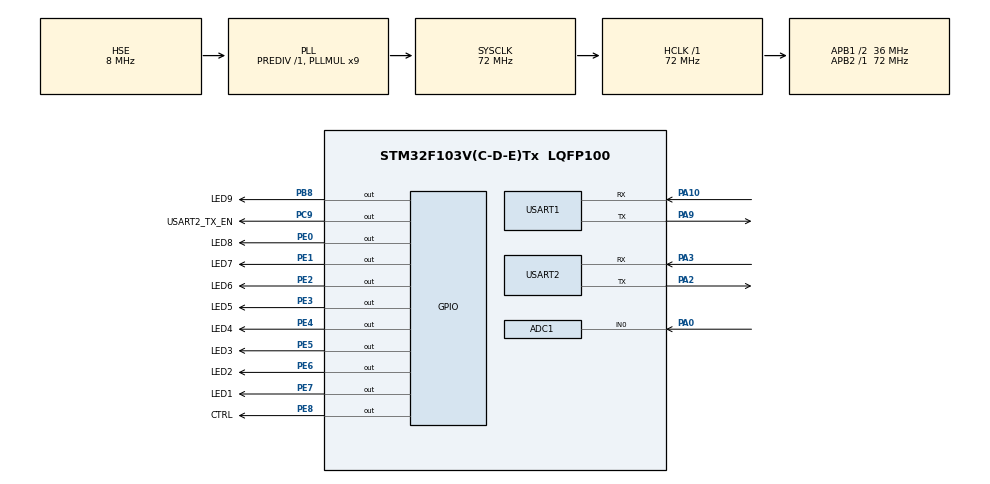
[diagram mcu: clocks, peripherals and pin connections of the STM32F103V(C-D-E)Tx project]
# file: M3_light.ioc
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ADC1.Channel-0\#ChannelRegularConversion=ADC_CHANNEL_0
ADC1.NbrOfConversionFlag=1
ADC1.Rank-0\#ChannelRegularConversion=1
ADC1.SamplingTime-0\#ChannelRegularConversion=ADC_SAMPLETIME_1CYCLE_5
ADC1.master=1
Mcu.Family=STM32F1
Mcu.Name=STM32F103V(C-D-E)Tx
Mcu.Package=LQFP100
NVIC.PriorityGroup=NVIC_PRIORITYGROUP_4
NVIC.TIM6_IRQn=true\:0\:0\:true\:false\:true\:true\:true
NVIC.USART2_IRQn=true\:0\:0\:true\:false\:true\:true\:true
OSC_IN.Mode=HSE-External-Oscillator
OSC_IN.Signal=RCC_OSC_IN
OSC_OUT.Mode=HSE-External-Oscillator
OSC_OUT.Signal=RCC_OSC_OUT
PA0-WKUP.Signal=ADCx_IN0
PA10.Mode=Asynchronous
PA10.Signal=USART1_RX
PA13.Mode=Serial_Wire
PA13.Signal=SYS_JTMS-SWDIO
PA14.Mode=Serial_Wire
PA14.Signal=SYS_JTCK-SWCLK
PA2.Mode=Asynchronous
PA2.Signal=USART2_TX
PA3.Mode=Asynchronous
PA3.Signal=USART2_RX
PA9.Mode=Asynchronous
PA9.Signal=USART1_TX
PB8.GPIO_Label=LED9
PB8.GPIO_Speed=GPIO_SPEED_FREQ_HIGH
PB8.PinState=GPIO_PIN_SET
PB8.Signal=GPIO_Output
PC14-OSC32_IN.Mode=LSE-External-Oscillator
PC14-OSC32_IN.Signal=RCC_OSC32_IN
PC15-OSC32_OUT.Mode=LSE-External-Oscillator
PC15-OSC32_OUT.Signal=RCC_OSC32_OUT
PC9.GPIO_Label=USART2_TX_EN
PC9.GPIO_Speed=GPIO_SPEED_FREQ_HIGH
PC9.PinState=GPIO_PIN_RESET
PC9.Signal=GPIO_Output
PE0.GPIO_Label=LED8
PE0.GPIO_Speed=GPIO_SPEED_FREQ_HIGH
PE0.PinState=GPIO_PIN_SET
PE0.Signal=GPIO_Output
PE1.GPIO_Label=LED7
PE1.GPIO_Speed=GPIO_SPEED_FREQ_HIGH
PE1.PinState=GPIO_PIN_SET
PE1.Signal=GPIO_Output
PE2.GPIO_Label=LED6
PE2.GPIO_Speed=GPIO_SPEED_FREQ_HIGH
PE2.PinState=GPIO_PIN_SET
PE2.Signal=GPIO_Output
PE3.GPIO_Label=LED5
PE3.GPIO_Speed=GPIO_SPEED_FREQ_HIGH
PE3.PinState=GPIO_PIN_SET
PE3.Signal=GPIO_Output
PE4.GPIO_Label=LED4
PE4.GPIO_Speed=GPIO_SPEED_FREQ_HIGH
PE4.PinState=GPIO_PIN_SET
PE4.Signal=GPIO_Output
PE5.GPIO_Label=LED3
PE5.GPIO_Speed=GPIO_SPEED_FREQ_HIGH
PE5.PinState=GPIO_PIN_SET
PE5.Signal=GPIO_Output
PE6.GPIO_Label=LED2
PE6.GPIO_Speed=GPIO_SPEED_FREQ_HIGH
PE6.PinState=GPIO_PIN_SET
PE6.Signal=GPIO_Output
PE7.GPIO_Label=LED1
PE7.GPIO_Speed=GPIO_SPEED_FREQ_HIGH
PE7.PinState=GPIO_PIN_SET
PE7.Signal=GPIO_Output
PE8.GPIO_Label=CTRL
PE8.GPIO_PuPd=GPIO_PULLDOWN
PE8.GPIO_Speed=GPIO_SPEED_FREQ_HIGH
PE8.PinState=GPIO_PIN_RESET
PE8.Signal=GPIO_Output
ProjectManager.HeapSize=0x200
ProjectManager.StackSize=0x400
ProjectManager.TargetToolchain=MDK-ARM V5
RCC.ADCPresc=RCC_ADCPCLK2_DIV6
RCC.AHBFreq_Value=72000000
RCC.APB1CLKDivider=RCC_HCLK_DIV2
RCC.APB1Freq_Value=36000000
RCC.APB1TimFreq_Value=72000000
RCC.APB2Freq_Value=72000000
RCC.APB2TimFreq_Value=72000000
RCC.HCLKFreq_Value=72000000
RCC.PLLMUL=RCC_PLL_MUL9
RCC.PLLSourceVirtual=RCC_PLLSOURCE_HSE
RCC.SYSCLKFreq_VALUE=72000000
RCC.SYSCLKSource=RCC_SYSCLKSOURCE_PLLCLK
RCC.USBFreq_Value=72000000
SH.ADCx_IN0.0=ADC1_IN0,IN0
TIM6.Period=9999
TIM6.Prescaler=7199
USART1.VirtualMode=VM_ASYNC
USART2.VirtualMode=VM_ASYNC
VP_TIM6_VS_ClockSourceINT.Mode=Enable_Timer
board=custom

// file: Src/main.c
/* USER CODE BEGIN Header */
/**
  ******************************************************************************
  * @file           : main.c
  * @brief          : Main program body
  ******************************************************************************
  * @attention
  *
  * <h2><center>&copy; Copyright (c) 2020 STMicroelectronics.
  * All rights reserved.</center></h2>
  *
  * This software component is licensed by ST under BSD 3-Clause license,
  * the "License"; You may not use this file except in compliance with the
  * License. You may obtain a copy of the License at:
  *                        opensource.org/licenses/BSD-3-Clause
  *
  ******************************************************************************
  */
/* USER CODE END Header */

#include "main.h"
#include "adc.h"
#include "tim.h"
#include "usart.h"
#include "gpio.h"

/* USER CODE BEGIN Includes */
#include <stdio.h>
#include "mcheck.h"
#include "math.h"
#include "temHum.h"
#define USE_DEBUG_LOG
/* USER CODE END Includes */

void SystemClock_Config(void);

/* USER CODE BEGIN 0 */
uint8_t rxBuf[24] = {0};
uint8_t rxPos=0;
uint8_t usart2rxBuf;
uint16_t illumination_value;//光照度
uint8_t currAddr=0x02; 			//当前节点地址

//重写fputc函数实现串口调试信息输出
int fputc(int ch, FILE *f)
{
#ifdef USE_DEBUG_LOG
  HAL_UART_Transmit(&huart1, (uint8_t*)&ch, 1, 0xFFFF);
#endif
  return(ch);
}

//LED1-LED8 组成的流水灯切换到下一状态
uint16_t num=0x100;
void Water_led_next(void)
{
	num=num>>1;
	if(num==0)
		num=0x80;
	HAL_GPIO_WritePin(GPIOE,0xff,GPIO_PIN_SET);
	HAL_GPIO_WritePin(GPIOE,num,GPIO_PIN_RESET);
}

void Refresh_Sensor()
{
	float adcValue,voltage_val;
	//启动ADC
	HAL_ADC_Start(&hadc1);
	//等待采集完成
	HAL_ADC_PollForConversion(&hadc1,40);
	//获取ADC采集的数据
	adcValue = HAL_ADC_GetValue(&hadc1);
	//将采集到的数据转换为电压值(单位:mv)
	voltage_val = adcValue * 3300 /(4096.0-1);
	//将电压值转换为光照强度
	illumination_value=(5/2.0)*(voltage_val/10.0);					//除以10K电阻转换成光电流
	//停止ADC
	HAL_ADC_Stop(&hadc1);

	//根据光照度进行自动开关照明灯
	if(illumination_value<100)
		HAL_GPIO_WritePin(CTRL_GPIO_Port,CTRL_Pin,GPIO_PIN_SET);
	else
		HAL_GPIO_WritePin(CTRL_GPIO_Port,CTRL_Pin,GPIO_PIN_RESET);

	//HAL_GPIO_TogglePin(LED9_GPIO_Port,LED9_Pin);
}

void Send_Illuminance(uint8_t idx)
{
	uint8_t cmd[7] = {0};
	cmd[0] = idx;
	cmd[1] = 0x03;
	cmd[2] = 0x06;
	cmd[3] = 0x02;
	cmd[4] = (illumination_value&0xff00)>>8;
	cmd[5] = illumination_value&0x00ff;
	cmd[6]=mc_check_crc8(cmd,6);
	printf("当前光照度为%d\r\n",illumination_value);
	HAL_GPIO_WritePin(USART2_TX_EN_GPIO_Port,USART2_TX_EN_Pin,GPIO_PIN_SET);
	HAL_UART_Transmit(&huart2,cmd,7,0xffff);
	HAL_GPIO_WritePin(USART2_TX_EN_GPIO_Port,USART2_TX_EN_Pin,GPIO_PIN_RESET);

}
void HAL_TIM_PeriodElapsedCallback(TIM_HandleTypeDef *htim)
{
 if(htim->Instance==TIM6)
 {
		Refresh_Sensor();
 }
}

void HAL_UART_RxCpltCallback(UART_HandleTypeDef *huart)
{
	if(huart->Instance == USART2)
	{
		rxBuf[rxPos++]=usart2rxBuf;
		HAL_UART_Receive_IT(&huart2,&usart2rxBuf,1);
	}

}
/* USER CODE END 0 */

int main(void)
{

  /* MCU Configuration--------------------------------------------------------*/

  /* Reset of all peripherals, Initializes the Flash interface and the Systick. */
  HAL_Init();

  /* Configure the system clock */
  SystemClock_Config();

  /* Initialize all configured peripherals */
  MX_GPIO_Init();
  MX_USART1_UART_Init();
  MX_USART2_UART_Init();
  MX_ADC1_Init();
  MX_TIM6_Init();
  /* USER CODE BEGIN 2 */
	printf("STM32 从机节点%d程序\r\n",currAddr);
	HAL_TIM_Base_Start_IT(&htim6);
	HAL_UART_Receive_IT(&huart2,&usart2rxBuf,1);
  /* USER CODE END 2 */

  /* Infinite loop */
  while (1)
  {

    /* USER CODE BEGIN 3 */

			Water_led_next();
			HAL_Delay(2000);
  }
  /* USER CODE END 3 */
}

void SystemClock_Config(void)
{
  RCC_OscInitTypeDef RCC_OscInitStruct = {0};
  RCC_ClkInitTypeDef RCC_ClkInitStruct = {0};
  RCC_PeriphCLKInitTypeDef PeriphClkInit = {0};

  /** Initializes the CPU, AHB and APB busses clocks
  */
  RCC_OscInitStruct.OscillatorType = RCC_OSCILLATORTYPE_HSE;
  RCC_OscInitStruct.HSEState = RCC_HSE_ON;
  RCC_OscInitStruct.HSEPredivValue = RCC_HSE_PREDIV_DIV1;
  RCC_OscInitStruct.HSIState = RCC_HSI_ON;
  RCC_OscInitStruct.PLL.PLLState = RCC_PLL_ON;
  RCC_OscInitStruct.PLL.PLLSource = RCC_PLLSOURCE_HSE;
  RCC_OscInitStruct.PLL.PLLMUL = RCC_PLL_MUL9;
  if (HAL_RCC_OscConfig(&RCC_OscInitStruct) != HAL_OK)
  {
    Error_Handler();
  }
  /** Initializes the CPU, AHB and APB busses clocks
  */
  RCC_ClkInitStruct.ClockType = RCC_CLOCKTYPE_HCLK|RCC_CLOCKTYPE_SYSCLK
                              |RCC_CLOCKTYPE_PCLK1|RCC_CLOCKTYPE_PCLK2;
  RCC_ClkInitStruct.SYSCLKSource = RCC_SYSCLKSOURCE_PLLCLK;
  RCC_ClkInitStruct.AHBCLKDivider = RCC_SYSCLK_DIV1;
  RCC_ClkInitStruct.APB1CLKDivider = RCC_HCLK_DIV2;
  RCC_ClkInitStruct.APB2CLKDivider = RCC_HCLK_DIV1;

  if (HAL_RCC_ClockConfig(&RCC_ClkInitStruct, FLASH_LATENCY_2) != HAL_OK)
  {
    Error_Handler();
  }
  PeriphClkInit.PeriphClockSelection = RCC_PERIPHCLK_ADC;
  PeriphClkInit.AdcClockSelection = RCC_ADCPCLK2_DIV6;
  if (HAL_RCCEx_PeriphCLKConfig(&PeriphClkInit) != HAL_OK)
  {
    Error_Handler();
  }
}

void Error_Handler(void)
{
}

/************************ (C) COPYRIGHT STMicroelectronics *****END OF FILE****/
